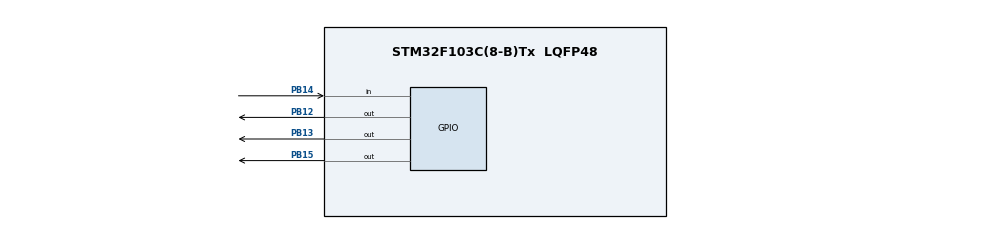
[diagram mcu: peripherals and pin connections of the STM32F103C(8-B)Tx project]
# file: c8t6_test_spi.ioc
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Mcu.Family=STM32F1
Mcu.Name=STM32F103C(8-B)Tx
Mcu.Package=LQFP48
NVIC.PriorityGroup=NVIC_PRIORITYGROUP_4
PA13.Mode=Serial_Wire
PA13.Signal=SYS_JTMS-SWDIO
PA14.Mode=Serial_Wire
PA14.Signal=SYS_JTCK-SWCLK
PB12.Signal=GPIO_Output
PB13.Signal=GPIO_Output
PB14.Signal=GPIO_Input
PB15.Signal=GPIO_Output
PD0-OSC_IN.Mode=HSE-External-Oscillator
PD0-OSC_IN.Signal=RCC_OSC_IN
PD1-OSC_OUT.Mode=HSE-External-Oscillator
PD1-OSC_OUT.Signal=RCC_OSC_OUT
ProjectManager.HeapSize=0x200
ProjectManager.StackSize=0x400
ProjectManager.TargetToolchain=CMake
RCC.APB1Freq_Value=8000000
RCC.APB2Freq_Value=8000000
board=custom

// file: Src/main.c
/* USER CODE BEGIN Header */
/**
  ******************************************************************************
  * @file           : main.c
  * @brief          : Main program body
  ******************************************************************************
  * @attention
  *
  * Copyright (c) 2025 STMicroelectronics.
  * All rights reserved.
  *
  * This software is licensed under terms that can be found in the LICENSE file
  * in the root directory of this software component.
  * If no LICENSE file comes with this software, it is provided AS-IS.
  *
  ******************************************************************************
  */
/* USER CODE END Header */
#include "main.h"
#include "gpio.h"

/* USER CODE BEGIN Includes */
#include "stdint.h"
/* USER CODE END Includes */

/* USER CODE BEGIN PTD */
#define GPIO_PORT_SPI GPIOB
#define SPI_MOSI GPIO_PIN_15
#define SPI_MISO GPIO_PIN_14
#define SPI_SCK GPIO_PIN_13
#define SPI_CS GPIO_PIN_12

/* USER CODE END PTD */

/* USER CODE BEGIN PD */
void SPI_GPIO_Transmit(uint16_t data, uint16_t* recv) {

  HAL_GPIO_WritePin(GPIO_PORT_SPI, SPI_SCK, GPIO_PIN_RESET);
  HAL_GPIO_WritePin(GPIO_PORT_SPI, SPI_MOSI, GPIO_PIN_RESET); //在发送之前拉低时钟和mosi
  *recv = 0x00;
  for (int i = 15; i >= 0; i--) {
      // 写入 MSB 到 MOSI 引脚

      if (data & (1 << i)) {
          HAL_GPIO_WritePin(GPIO_PORT_SPI, SPI_MOSI, GPIO_PIN_SET);
          HAL_GPIO_WritePin(GPIO_PORT_SPI, SPI_SCK, GPIO_PIN_SET);  // SCK 置高
          // HAL_Delay(1);
          HAL_GPIO_WritePin(GPIO_PORT_SPI, SPI_SCK, GPIO_PIN_RESET);  // SCK 置低
          // HAL_Delay(1);
          if (HAL_GPIO_ReadPin(GPIO_PORT_SPI, SPI_MISO) == GPIO_PIN_SET){
            *recv = *recv | (1 << i);
          }
          else{
            *recv = *recv | (0 << i);
          }

      } else {
          HAL_GPIO_WritePin(GPIO_PORT_SPI, SPI_MOSI, GPIO_PIN_RESET);
          HAL_GPIO_WritePin(GPIO_PORT_SPI, SPI_SCK, GPIO_PIN_SET);  // SCK 置高
          // HAL_Delay(1);
          HAL_GPIO_WritePin(GPIO_PORT_SPI, SPI_SCK, GPIO_PIN_RESET);  // SCK 置低
          // HAL_Delay(1);
          if (HAL_GPIO_ReadPin(GPIO_PORT_SPI, SPI_MISO) == GPIO_PIN_SET){
            *recv = *recv | (1 << i);
          }
          else{
            *recv = *recv | (0 << i);
          }
      }
  }
}

/* USER CODE END PD */

void SystemClock_Config(void);

int main(void)
{

  /* MCU Configuration--------------------------------------------------------*/

  /* Reset of all peripherals, Initializes the Flash interface and the Systick. */
  HAL_Init();

  /* Configure the system clock */
  SystemClock_Config();

  /* Initialize all configured peripherals */
  MX_GPIO_Init();
  /* USER CODE BEGIN 2 */
  uint16_t spi_trans_1 = 0x0200;
  uint16_t spi_trans_2 = 0x8000;
  uint16_t spi_trans_3 = 0x9000;
  uint16_t spi_trans_4 = 0x9700;

  // uint16_t spi_trans_1 = 0x9800;
  // uint16_t spi_trans_2 = 0x1f88;
  uint16_t spi_recv = 0x00;
  /* USER CODE END 2 */

  /* Infinite loop */
  /* USER CODE BEGIN WHILE */
  while (1)
  {
    SPI_GPIO_Transmit(spi_trans_4, &spi_recv);
    HAL_Delay(100);
    /* USER CODE END WHILE */

  }
}

void SystemClock_Config(void)
{
  RCC_OscInitTypeDef RCC_OscInitStruct = {0};
  RCC_ClkInitTypeDef RCC_ClkInitStruct = {0};

  /** Initializes the RCC Oscillators according to the specified parameters
  * in the RCC_OscInitTypeDef structure.
  */
  RCC_OscInitStruct.OscillatorType = RCC_OSCILLATORTYPE_HSI;
  RCC_OscInitStruct.HSIState = RCC_HSI_ON;
  RCC_OscInitStruct.HSICalibrationValue = RCC_HSICALIBRATION_DEFAULT;
  RCC_OscInitStruct.PLL.PLLState = RCC_PLL_NONE;
  if (HAL_RCC_OscConfig(&RCC_OscInitStruct) != HAL_OK)
  {
    Error_Handler();
  }

  /** Initializes the CPU, AHB and APB buses clocks
  */
  RCC_ClkInitStruct.ClockType = RCC_CLOCKTYPE_HCLK|RCC_CLOCKTYPE_SYSCLK
                              |RCC_CLOCKTYPE_PCLK1|RCC_CLOCKTYPE_PCLK2;
  RCC_ClkInitStruct.SYSCLKSource = RCC_SYSCLKSOURCE_HSI;
  RCC_ClkInitStruct.AHBCLKDivider = RCC_SYSCLK_DIV1;
  RCC_ClkInitStruct.APB1CLKDivider = RCC_HCLK_DIV1;
  RCC_ClkInitStruct.APB2CLKDivider = RCC_HCLK_DIV1;

  if (HAL_RCC_ClockConfig(&RCC_ClkInitStruct, FLASH_LATENCY_0) != HAL_OK)
  {
    Error_Handler();
  }
}

void Error_Handler(void)
{
  __disable_irq();
  while (1)
  {
  }
}
